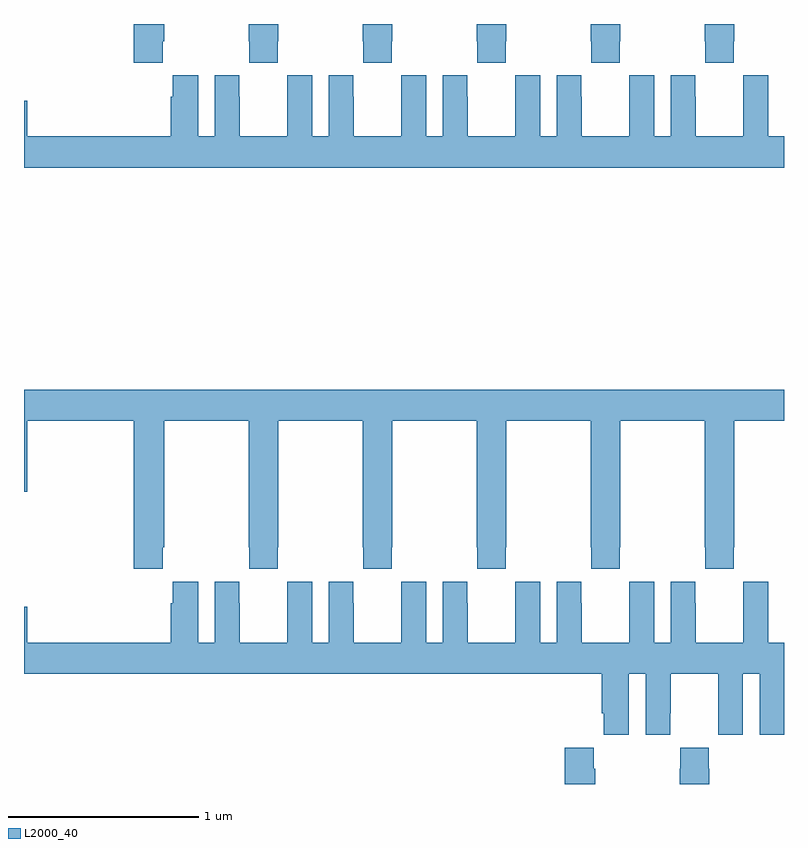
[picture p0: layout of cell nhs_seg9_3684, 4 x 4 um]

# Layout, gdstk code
import gdstk
lib = gdstk.Library(unit=1e-6, precision=1e-09)
def P(c, l, *ps):  # polygons
    for p in ps: c.add(gdstk.Polygon(p, *l))
L2000_40 = (2000, 40)

nhs_seg9_3684 = lib.new_cell('nhs_seg9_3684')
P(nhs_seg9_3684, L2000_40, [(322.335,1206.409),(322.338,1206.409),(322.338,1206.5),(322.183,1206.5),(322.183,1206.409),(322.185,1206.409),(322.185,1206.297),(322.335,1206.297)],
  [(322.935,1206.409),(322.938,1206.409),(322.938,1206.5),(322.783,1206.5),(322.783,1206.409),(322.785,1206.409),(322.785,1206.297),(322.935,1206.297)],
  [(323.535,1206.409),(323.538,1206.409),(323.538,1206.5),(323.383,1206.5),(323.383,1206.409),(323.385,1206.409),(323.385,1206.297),(323.535,1206.297)],
  [(324.135,1206.409),(324.138,1206.409),(324.138,1206.5),(323.983,1206.5),(323.983,1206.409),(323.985,1206.409),(323.985,1206.297),(324.135,1206.297)],
  [(324.735,1206.409),(324.738,1206.409),(324.738,1206.5),(324.583,1206.5),(324.583,1206.409),(324.585,1206.409),(324.585,1206.297),(324.735,1206.297)],
  [(321.731,1206.409),(321.738,1206.409),(321.738,1206.5),(321.578,1206.5),(321.578,1206.297),(321.731,1206.297)],
  [(325,1205.908),(324.916,1205.908),(324.916,1206.229),(324.786,1206.229),(324.786,1206.116),(324.785,1206.116),(324.785,1205.908),(324.535,1205.908),(324.535,1206.116),(324.534,1206.116),(324.534,1206.229),(324.404,1206.229),(324.404,1205.908),(324.316,1205.908),(324.316,1206.229),(324.186,1206.229),(324.186,1206.116),(324.185,1206.116),(324.185,1205.908),(323.935,1205.908),(323.935,1206.116),(323.934,1206.116),(323.934,1206.229),(323.804,1206.229),(323.804,1205.908),(323.716,1205.908),(323.716,1206.229),(323.586,1206.229),(323.586,1206.116),(323.585,1206.116),(323.585,1205.908),(323.335,1205.908),(323.335,1206.116),(323.334,1206.116),(323.334,1206.229),(323.204,1206.229),(323.204,1205.908),(323.116,1205.908),(323.116,1206.229),(322.986,1206.229),(322.986,1206.116),(322.985,1206.116),(322.985,1205.908),(322.735,1205.908),(322.735,1206.116),(322.734,1206.116),(322.734,1206.229),(322.604,1206.229),(322.604,1205.908),(322.516,1205.908),(322.516,1206.229),(322.386,1206.229),(322.386,1206.116),(322.385,1206.116),(322.385,1205.908),(322.135,1205.908),(322.135,1206.116),(322.134,1206.116),(322.134,1206.229),(322.004,1206.229),(322.004,1205.908),(321.916,1205.908),(321.916,1206.229),(321.782,1206.229),(321.782,1206.116),(321.773,1206.116),(321.773,1205.908),(321.016,1205.908),(321.016,1206.097),(321,1206.097),(321,1205.744),(325,1205.744)],
  [(321.731,1203.745),(321.738,1203.745),(321.738,1204.412),(322.183,1204.412),(322.183,1203.745),(322.185,1203.745),(322.185,1203.633),(322.335,1203.633),(322.335,1203.745),(322.338,1203.745),(322.338,1204.412),(322.783,1204.412),(322.783,1203.745),(322.785,1203.745),(322.785,1203.633),(322.935,1203.633),(322.935,1203.745),(322.938,1203.745),(322.938,1204.412),(323.383,1204.412),(323.383,1203.745),(323.385,1203.745),(323.385,1203.633),(323.535,1203.633),(323.535,1203.745),(323.538,1203.745),(323.538,1204.412),(323.983,1204.412),(323.983,1203.745),(323.985,1203.745),(323.985,1203.633),(324.135,1203.633),(324.135,1203.745),(324.138,1203.745),(324.138,1204.412),(324.583,1204.412),(324.583,1203.745),(324.585,1203.745),(324.585,1203.633),(324.735,1203.633),(324.735,1203.745),(324.738,1203.745),(324.738,1204.412),(325,1204.412),(325,1204.576),(321,1204.576),(321,1204.038),(321.016,1204.038),(321.016,1204.412),(321.578,1204.412),(321.578,1203.633),(321.731,1203.633)],
  [(324.184,1203.08),(324.272,1203.08),(324.272,1202.76),(324.402,1202.76),(324.402,1202.872),(324.403,1202.872),(324.403,1203.08),(324.653,1203.08),(324.653,1202.872),(324.654,1202.872),(324.654,1202.76),(324.784,1202.76),(324.784,1203.08),(324.872,1203.08),(324.872,1202.76),(325,1202.76),(325,1203.244),(324.916,1203.244),(324.916,1203.565),(324.786,1203.565),(324.786,1203.452),(324.785,1203.452),(324.785,1203.244),(324.535,1203.244),(324.535,1203.452),(324.534,1203.452),(324.534,1203.565),(324.404,1203.565),(324.404,1203.244),(324.316,1203.244),(324.316,1203.565),(324.186,1203.565),(324.186,1203.452),(324.185,1203.452),(324.185,1203.244),(323.935,1203.244),(323.935,1203.452),(323.934,1203.452),(323.934,1203.565),(323.804,1203.565),(323.804,1203.244),(323.716,1203.244),(323.716,1203.565),(323.586,1203.565),(323.586,1203.452),(323.585,1203.452),(323.585,1203.244),(323.335,1203.244),(323.335,1203.452),(323.334,1203.452),(323.334,1203.565),(323.204,1203.565),(323.204,1203.244),(323.116,1203.244),(323.116,1203.565),(322.986,1203.565),(322.986,1203.452),(322.985,1203.452),(322.985,1203.244),(322.735,1203.244),(322.735,1203.452),(322.734,1203.452),(322.734,1203.565),(322.604,1203.565),(322.604,1203.244),(322.516,1203.244),(322.516,1203.565),(322.386,1203.565),(322.386,1203.452),(322.385,1203.452),(322.385,1203.244),(322.135,1203.244),(322.135,1203.452),(322.134,1203.452),(322.134,1203.565),(322.004,1203.565),(322.004,1203.244),(321.916,1203.244),(321.916,1203.565),(321.782,1203.565),(321.782,1203.452),(321.773,1203.452),(321.773,1203.244),(321.016,1203.244),(321.016,1203.433),(321,1203.433),(321,1203.08),(324.041,1203.08),(324.041,1202.872),(324.05,1202.872),(324.05,1202.76),(324.184,1202.76)],
  [(324.606,1202.579),(324.603,1202.579),(324.603,1202.692),(324.453,1202.692),(324.453,1202.579),(324.451,1202.579),(324.451,1202.5),(324.606,1202.5)],
  [(324.006,1202.579),(323.999,1202.579),(323.999,1202.692),(323.846,1202.692),(323.846,1202.5),(324.006,1202.5)])

lib.write_gds('nhs_seg9_3684.gds')
